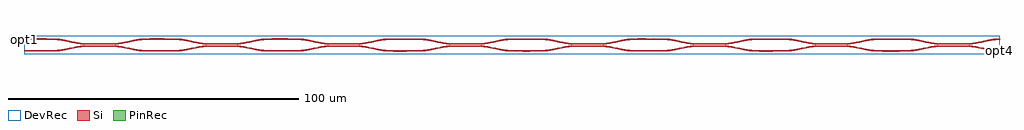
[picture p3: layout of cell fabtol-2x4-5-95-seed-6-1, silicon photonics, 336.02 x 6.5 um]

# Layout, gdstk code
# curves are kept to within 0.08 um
import gdstk
lib = gdstk.Library(unit=1e-6, precision=1e-09)
def R(c, l, rs):  # rectangles x0, y0, x1, y1
    for r in rs: c.add(gdstk.rectangle(r[:2], r[2:], *l))
def P(c, l, *ps):  # polygons
    for p in ps: c.add(gdstk.Polygon(p, *l))
Si = (1, 0)
PinRec = (1, 10)
DevRec = (68, 0)

layer_3_0_phase_sec_2_21 = lib.new_cell('layer-3_0_phase_sec_2$21')
P(layer_3_0_phase_sec_2_21, Si, [(2.705,-0.232),(0,-0.225),(0,0.225),(10,0.225),(10,-0.225)])

layer_0_0_phase_sec_0_21 = lib.new_cell('layer-0_0_phase_sec_0$21')
P(layer_0_0_phase_sec_0_21, Si, [(3.038,-0.242),(0,-0.225),(0,0.225),(10,0.225),(10,-0.225)])

layer_3_0_phase_sec_1_21 = lib.new_cell('layer-3_0_phase_sec_1$21')
P(layer_3_0_phase_sec_1_21, Si, [(2.334,-0.245),(0,-0.225),(0,0.225),(10,0.225),(10,-0.225)])

layer_1_0_phase_sec_0_21 = lib.new_cell('layer-1_0_phase_sec_0$21')
P(layer_1_0_phase_sec_0_21, Si, [(1.352,-0.25),(0,-0.225),(0,0.225),(10,0.225),(10,-0.225)])

layer_0_0_phase_sec_1_21 = lib.new_cell('layer-0_0_phase_sec_1$21')
P(layer_0_0_phase_sec_1_21, Si, [(2.794,-0.227),(0,-0.225),(0,0.225),(10,0.225),(10,-0.225)])

layer_1_0_phase_sec_1_21 = lib.new_cell('layer-1_0_phase_sec_1$21')
P(layer_1_0_phase_sec_1_21, Si, [(1.005,-0.228),(0,-0.225),(0,0.225),(10,0.225),(10,-0.225)])

dc_arm_down_21 = lib.new_cell('dc_arm_down$21')
R(dc_arm_down_21, Si, [(12,-0.55,20,-0.1)])
P(dc_arm_down_21, Si, [(32,-2.225),(30.861,-2.188),(29.344,-2.033),(22.966,-0.793),(21.481,-0.613),(20,-0.55),(20,-0.1),(21.139,-0.137),(22.656,-0.292),(29.034,-1.532),(30.519,-1.712),(32,-1.775)],
  [(0,-2.225),(0,-1.775),(1.481,-1.712),(2.966,-1.532),(9.344,-0.292),(10.861,-0.137),(12,-0.1),(12,-0.55),(10.519,-0.613),(9.034,-0.793),(2.656,-2.033),(1.139,-2.188)])

dc_arm_up_21 = lib.new_cell('dc_arm_up$21')
R(dc_arm_up_21, Si, [(12,0.1,20,0.55)])
P(dc_arm_up_21, Si, [(20,0.1),(20,0.55),(21.481,0.613),(22.966,0.793),(29.344,2.033),(30.861,2.188),(32,2.225),(32,1.775),(30.519,1.712),(29.034,1.532),(22.656,0.292),(21.139,0.137)],
  [(12,0.1),(10.861,0.137),(9.344,0.292),(2.966,1.532),(1.481,1.712),(0,1.775),(0,2.225),(1.139,2.188),(2.656,2.033),(9.034,0.793),(10.519,0.613),(12,0.55)])

dc_21 = lib.new_cell('dc$21')
dc_21.add(gdstk.Reference(dc_arm_down_21, (0,0)))
dc_21.add(gdstk.Reference(dc_arm_up_21, (0,0)))

layer_3_0_phase_sec_0_21 = lib.new_cell('layer-3_0_phase_sec_0$21')
P(layer_3_0_phase_sec_0_21, Si, [(5.373,-0.234),(0,-0.225),(0,0.225),(10,0.225),(10,-0.225)])

layer_0_0_phase_sec_3_21 = lib.new_cell('layer-0_0_phase_sec_3$21')
P(layer_0_0_phase_sec_3_21, Si, [(3.942,-0.233),(0,-0.225),(0,0.225),(10,0.225),(10,-0.225)])

layer_3_0_phase_sec_3_21 = lib.new_cell('layer-3_0_phase_sec_3$21')
P(layer_3_0_phase_sec_3_21, Si, [(5.908,-0.247),(0,-0.225),(0,0.225),(10,0.225),(10,-0.225)])

layer_1_0_phase_sec_2_21 = lib.new_cell('layer-1_0_phase_sec_2$21')
P(layer_1_0_phase_sec_2_21, Si, [(1.383,-0.235),(0,-0.225),(0,0.225),(10,0.225),(10,-0.225)])

layer_1_0_phase_sec_3_21 = lib.new_cell('layer-1_0_phase_sec_3$21')
P(layer_1_0_phase_sec_3_21, Si, [(3.419,-0.245),(0,-0.225),(0,0.225),(10,0.225),(10,-0.225)])

layer_2_0_phase_sec_0_21 = lib.new_cell('layer-2_0_phase_sec_0$21')
P(layer_2_0_phase_sec_0_21, Si, [(5.54,-0.239),(0,-0.225),(0,0.225),(10,0.225),(10,-0.225)])

layer_2_0_phase_sec_2_21 = lib.new_cell('layer-2_0_phase_sec_2$21')
P(layer_2_0_phase_sec_2_21, Si, [(1.364,-0.243),(0,-0.225),(0,0.225),(10,0.225),(10,-0.225)])

layer_2_0_phase_sec_1_21 = lib.new_cell('layer-2_0_phase_sec_1$21')
P(layer_2_0_phase_sec_1_21, Si, [(4.862,-0.241),(0,-0.225),(0,0.225),(10,0.225),(10,-0.225)])

layer_0_0_phase_sec_2_21 = lib.new_cell('layer-0_0_phase_sec_2$21')
P(layer_0_0_phase_sec_2_21, Si, [(1.24,-0.245),(0,-0.225),(0,0.225),(10,0.225),(10,-0.225)])

layer_2_0_phase_sec_3_21 = lib.new_cell('layer-2_0_phase_sec_3$21')
P(layer_2_0_phase_sec_3_21, Si, [(2.21,-0.236),(0,-0.225),(0,0.225),(10,0.225),(10,-0.225)])

fabtol_2x4_5_95_seed_6_1 = lib.new_cell('fabtol-2x4-5-95-seed-6-1')
R(fabtol_2x4_5_95_seed_6_1, DevRec, [(0,-1,336,5.497)])
fabtol_2x4_5_95_seed_6_1.add(gdstk.FlexPath([(335.99,0.247),(336.01,0.247)], 0.45, ends="flush", simple_path=True, layer=1, datatype=10))  # PinRec
fabtol_2x4_5_95_seed_6_1.add(gdstk.FlexPath([(335.99,4.247),(336.01,4.247)], 0.45, ends="flush", simple_path=True, layer=1, datatype=10))  # PinRec
fabtol_2x4_5_95_seed_6_1.add(gdstk.FlexPath([(0.01,4.247),(-0.01,4.247)], 0.45, ends="flush", simple_path=True, layer=1, datatype=10))  # PinRec
fabtol_2x4_5_95_seed_6_1.add(gdstk.Reference(layer_3_0_phase_sec_2_21, (294,4.247)))
fabtol_2x4_5_95_seed_6_1.add(gdstk.Reference(layer_0_0_phase_sec_0_21, (0,4.247)))
fabtol_2x4_5_95_seed_6_1.add(gdstk.Reference(layer_3_0_phase_sec_1_21, (252,0.247)))
fabtol_2x4_5_95_seed_6_1.add(gdstk.Reference(layer_1_0_phase_sec_0_21, (84,4.247)))
fabtol_2x4_5_95_seed_6_1.add(gdstk.Reference(layer_0_0_phase_sec_1_21, (0,0.247)))
fabtol_2x4_5_95_seed_6_1.add(gdstk.Reference(layer_1_0_phase_sec_1_21, (84,0.247)))
fabtol_2x4_5_95_seed_6_1.add(gdstk.Reference(dc_21, (10,2.247)))
fabtol_2x4_5_95_seed_6_1.add(gdstk.Reference(dc_21, (52,2.247)))
fabtol_2x4_5_95_seed_6_1.add(gdstk.Reference(dc_21, (94,2.247)))
fabtol_2x4_5_95_seed_6_1.add(gdstk.Reference(dc_21, (136,2.247)))
fabtol_2x4_5_95_seed_6_1.add(gdstk.Reference(dc_21, (178,2.247)))
fabtol_2x4_5_95_seed_6_1.add(gdstk.Reference(dc_21, (220,2.247)))
fabtol_2x4_5_95_seed_6_1.add(gdstk.Reference(dc_21, (262,2.247)))
fabtol_2x4_5_95_seed_6_1.add(gdstk.Reference(dc_21, (304,2.247)))
fabtol_2x4_5_95_seed_6_1.add(gdstk.Reference(layer_3_0_phase_sec_0_21, (252,4.247)))
fabtol_2x4_5_95_seed_6_1.add(gdstk.Reference(layer_0_0_phase_sec_3_21, (42,0.247)))
fabtol_2x4_5_95_seed_6_1.add(gdstk.Reference(layer_3_0_phase_sec_3_21, (294,0.247)))
fabtol_2x4_5_95_seed_6_1.add(gdstk.Reference(layer_1_0_phase_sec_2_21, (126,4.247)))
fabtol_2x4_5_95_seed_6_1.add(gdstk.Reference(layer_1_0_phase_sec_3_21, (126,0.247)))
fabtol_2x4_5_95_seed_6_1.add(gdstk.Reference(layer_2_0_phase_sec_0_21, (168,4.247)))
fabtol_2x4_5_95_seed_6_1.add(gdstk.Reference(layer_2_0_phase_sec_2_21, (210,4.247)))
fabtol_2x4_5_95_seed_6_1.add(gdstk.Reference(layer_2_0_phase_sec_1_21, (168,0.247)))
fabtol_2x4_5_95_seed_6_1.add(gdstk.Reference(layer_0_0_phase_sec_2_21, (42,4.247)))
fabtol_2x4_5_95_seed_6_1.add(gdstk.Reference(layer_2_0_phase_sec_3_21, (210,0.247)))
fabtol_2x4_5_95_seed_6_1.add(gdstk.Label('opt4', (336,0.247), layer=1, texttype=10))
fabtol_2x4_5_95_seed_6_1.add(gdstk.Label('opt3', (336,4.247), layer=1, texttype=10))
fabtol_2x4_5_95_seed_6_1.add(gdstk.Label('opt1', (0,4.247), layer=1, texttype=10))

lib.write_gds('fabtol-2x4-5-95-seed-6-1.gds')
